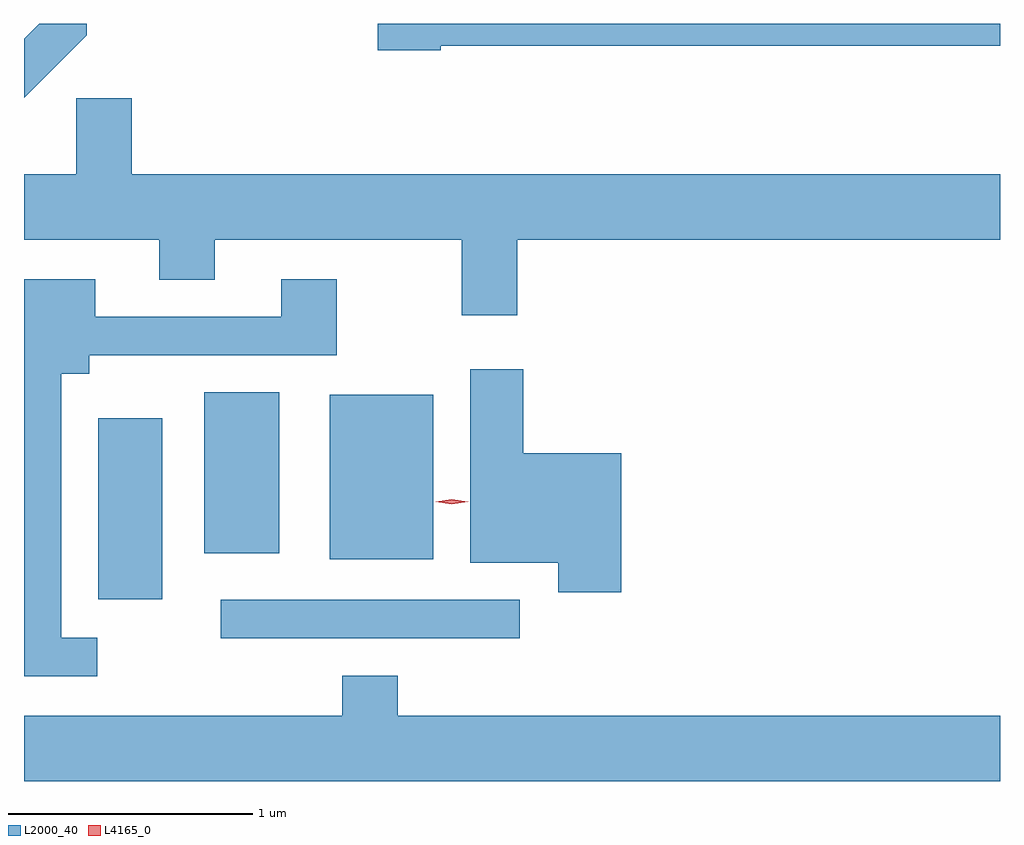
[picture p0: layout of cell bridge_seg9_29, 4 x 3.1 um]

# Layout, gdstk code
import gdstk
lib = gdstk.Library(unit=1e-6, precision=1e-09)
def R(c, l, rs):  # rectangles x0, y0, x1, y1
    for r in rs: c.add(gdstk.rectangle(r[:2], r[2:], *l))
def P(c, l, *ps):  # polygons
    for p in ps: c.add(gdstk.Polygon(p, *l))
L2000_40 = (2000, 40)
L4165_0 = (4165, 0)

bridge_seg9_29 = lib.new_cell('bridge_seg9_29')
R(bridge_seg9_29, L2000_40, [(1538.483,2045.681,1539.708,2045.839), (1537.981,2045.841,1538.244,2046.584), (1538.931,2046.006,1539.354,2046.679), (1538.416,2046.031,1538.724,2046.689)])
P(bridge_seg9_29, L2000_40, [(1537.934,2048.154),(1537.934,2048.2),(1537.739,2048.2),(1537.677,2048.138),(1537.677,2047.896)],
  [(1539.384,2048.111),(1541.677,2048.111),(1541.677,2048.2),(1539.126,2048.2),(1539.126,2048.091),(1539.384,2048.091)],
  [(1539.699,2047.316),(1541.677,2047.316),(1541.677,2047.584),(1538.119,2047.584),(1538.119,2047.894),(1537.891,2047.894),(1537.891,2047.584),(1537.677,2047.584),(1537.677,2047.316),(1538.231,2047.316),(1538.231,2047.151),(1538.459,2047.151),(1538.459,2047.316),(1539.471,2047.316),(1539.471,2047.006),(1539.699,2047.006)],
  [(1537.978,2045.684),(1537.829,2045.684),(1537.829,2046.766),(1537.944,2046.766),(1537.944,2046.841),(1538.959,2046.841),(1538.959,2047.154),(1538.731,2047.154),(1538.731,2046.999),(1537.969,2046.999),(1537.969,2047.154),(1537.677,2047.154),(1537.677,2045.526),(1537.978,2045.526)],
  [(1540.124,2046.439),(1539.724,2046.439),(1539.724,2046.784),(1539.506,2046.784),(1539.506,2045.991),(1539.866,2045.991),(1539.866,2045.871),(1540.124,2045.871)],
  [(1541.677,2045.364),(1539.209,2045.364),(1539.209,2045.529),(1538.981,2045.529),(1538.981,2045.364),(1537.677,2045.364),(1537.677,2045.096),(1541.677,2045.096)])
P(bridge_seg9_29, L4165_0, [(1539.43,2046.231),(1539.364,2046.241),(1539.363,2046.241),(1539.364,2046.242),(1539.43,2046.251),(1539.496,2046.242),(1539.497,2046.241),(1539.496,2046.241)])

lib.write_gds('bridge_seg9_29.gds')
